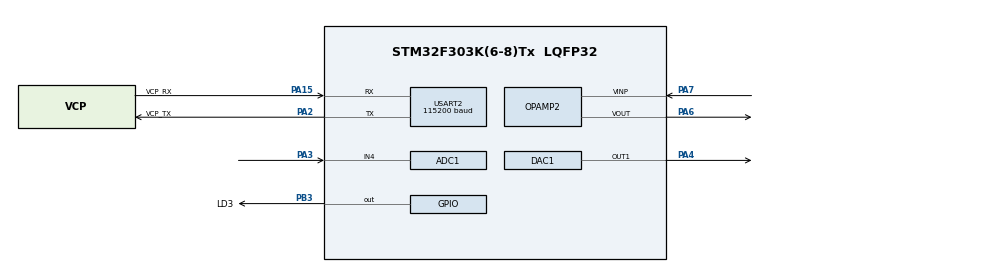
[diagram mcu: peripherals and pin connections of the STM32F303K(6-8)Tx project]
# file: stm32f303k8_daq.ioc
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ADC1.Channel-0\#ChannelRegularConversion=ADC_CHANNEL_4
ADC1.ContinuousConvMode=ENABLE
ADC1.NbrOfConversionFlag=1
ADC1.Offset-0\#ChannelRegularConversion=0
ADC1.OffsetNumber-0\#ChannelRegularConversion=ADC_OFFSET_NONE
ADC1.Rank-0\#ChannelRegularConversion=1
ADC1.SamplingTime-0\#ChannelRegularConversion=ADC_SAMPLETIME_19CYCLES_5
ADC1.SubFamily=STM32F303x8
ADC1.master=1
DAC1.DAC_Trigger=DAC_TRIGGER_T6_TRGO
Dma.ADC1.1.Direction=DMA_PERIPH_TO_MEMORY
Dma.ADC1.1.Instance=DMA1_Channel1
Dma.ADC1.1.MemDataAlignment=DMA_MDATAALIGN_HALFWORD
Dma.ADC1.1.MemInc=DMA_MINC_ENABLE
Dma.ADC1.1.Mode=DMA_NORMAL
Dma.ADC1.1.PeriphDataAlignment=DMA_PDATAALIGN_HALFWORD
Dma.ADC1.1.PeriphInc=DMA_PINC_DISABLE
Dma.ADC1.1.Priority=DMA_PRIORITY_HIGH
Dma.DAC1_CH1.0.Direction=DMA_MEMORY_TO_PERIPH
Dma.DAC1_CH1.0.Instance=DMA1_Channel3
Dma.DAC1_CH1.0.MemDataAlignment=DMA_MDATAALIGN_HALFWORD
Dma.DAC1_CH1.0.MemInc=DMA_MINC_ENABLE
Dma.DAC1_CH1.0.Mode=DMA_CIRCULAR
Dma.DAC1_CH1.0.PeriphDataAlignment=DMA_PDATAALIGN_HALFWORD
Dma.DAC1_CH1.0.PeriphInc=DMA_PINC_DISABLE
Dma.DAC1_CH1.0.Priority=DMA_PRIORITY_LOW
Dma.Request0=DAC1_CH1
Dma.Request1=ADC1
Mcu.Family=STM32F3
Mcu.Name=STM32F303K(6-8)Tx
Mcu.Package=LQFP32
NVIC.DMA1_Channel1_IRQn=true\:0\:0\:false\:false\:true\:false\:true
NVIC.DMA1_Channel3_IRQn=true\:0\:0\:false\:false\:true\:false\:true
NVIC.PriorityGroup=NVIC_PRIORITYGROUP_4
NVIC.USART2_IRQn=true\:0\:0\:false\:false\:true\:true\:true
PA13.GPIO_Label=SWDIO
PA13.Mode=Serial_Wire
PA13.Signal=SYS_JTMS-SWDIO
PA14.GPIO_Label=SWCLK
PA14.Mode=Serial_Wire
PA14.Signal=SYS_JTCK-SWCLK
PA15.GPIO_Label=VCP_RX
PA15.Mode=Asynchronous
PA15.Signal=USART2_RX
PA2.GPIO_Label=VCP_TX
PA2.Mode=Asynchronous
PA2.Signal=USART2_TX
PA3.Mode=IN4-Single-Ended
PA3.Signal=ADC1_IN4
PA4.Signal=COMP_DAC11_group
PA6.Mode=Follower
PA6.Signal=OPAMP2_VOUT
PA7.Mode=Follower
PA7.Signal=OPAMP2_VINP
PB3.GPIO_Label=LD3
PB3.Signal=GPIO_Output
PF0\ /\ OSC_IN.GPIO_Label=MCO
PF0\ /\ OSC_IN.Mode=HSE-External-Clock-Source
PF0\ /\ OSC_IN.Signal=RCC_OSC_IN
ProjectManager.HeapSize=0x200
ProjectManager.StackSize=0x400
ProjectManager.TargetToolchain=STM32CubeIDE
RCC.ADC12PRES=RCC_ADC12PLLCLK_DIV16
RCC.AHBFreq_Value=64000000
RCC.APB1CLKDivider=RCC_HCLK_DIV2
RCC.APB1Freq_Value=32000000
RCC.APB1TimFreq_Value=64000000
RCC.APB2Freq_Value=64000000
RCC.APB2TimFreq_Value=64000000
RCC.CortexFreq_Value=64000000
RCC.HCLKFreq_Value=64000000
RCC.HSE_VALUE=8000000
RCC.HSI_VALUE=8000000
RCC.PLLMUL=RCC_PLL_MUL16
RCC.SYSCLKFreq_VALUE=64000000
RCC.SYSCLKSourceVirtual=RCC_SYSCLKSOURCE_PLLCLK
SH.COMP_DAC11_group.0=DAC1_OUT1,DAC_OUT1
TIM2.Period=0xFFFFFFFF
TIM6.AutoReloadPreload=TIM_AUTORELOAD_PRELOAD_ENABLE
TIM6.Period=49
TIM6.Prescaler=7
TIM6.TIM_MasterOutputTrigger=TIM_TRGO_UPDATE
USART2.BaudRate=115200
USART2.VirtualMode-Asynchronous=VM_ASYNC
VP_TIM2_VS_ClockSourceINT.Mode=Internal
VP_TIM6_VS_ClockSourceINT.Mode=Enable_Timer
board=NUCLEO-F303K8

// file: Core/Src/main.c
/* USER CODE BEGIN Header */
/**
 ******************************************************************************
 * @file           : main.c
 * @brief          : Main program body
 ******************************************************************************
 * @attention
 *
 * <h2><center>&copy; Copyright (c) 2020 STMicroelectronics.
 * All rights reserved.</center></h2>
 *
 * This software component is licensed by ST under BSD 3-Clause license,
 * the "License"; You may not use this file except in compliance with the
 * License. You may obtain a copy of the License at:
 *                        opensource.org/licenses/BSD-3-Clause
 *
 ******************************************************************************
 */
/* USER CODE END Header */

#include "main.h"

/* USER CODE BEGIN Includes */
#include "arm_math.h"
/* USER CODE END Includes */

/* USER CODE BEGIN PV */
__attribute__((aligned (16))) uint16_t dac_buf0 [DAC_BUF_LEN] = {0};
__attribute__((aligned (16))) uint16_t dac_buf1 [DAC_BUF_LEN] = {0};

uint32_t samplerate; // from the DAC

__attribute__((aligned (16))) uint16_t adc_buf [ADC_BUF_LEN] = {0};
uint32_t convdone = 0;
static const unsigned char base64_table[65] =
		"ABCDEFGHIJKLMNOPQRSTUVWXYZabcdefghijklmnopqrstuvwxyz0123456789+/";

uint32_t adc_enabled = 0;
uint32_t dac_enabled = 0;
uint32_t adc_enable_req = 0;
uint32_t dac_enable_req = 0;
uint32_t adc_disable_req = 0;
uint32_t dac_disable_req = 0;

/* USER CODE END PV */

void SystemClock_Config(void);
static void MX_GPIO_Init(void);
static void MX_DMA_Init(void);
static void MX_DAC1_Init(void);
static void MX_TIM6_Init(void);
static void MX_USART2_UART_Init(void);
static void MX_TIM2_Init(void);
static void MX_ADC1_Init(void);
static void MX_OPAMP2_Init(void);
/* USER CODE BEGIN PFP */
static char base64enc(uint8_t n);
/* USER CODE END PFP */

/* USER CODE BEGIN 0 */
static char base64enc(uint8_t n)
{
	return base64_table[n];
}

static void uart_tx(char c)
{
	while (!LL_USART_IsActiveFlag_TXE(USART2)) {};
	LL_USART_TransmitData8( USART2, c );
}

// Transmit ADC captured data encoded in base64 through the UART
static void tx_adc_buffer()
{
	char c;

	for (uint32_t i=0; i<ADC_BUF_LEN; i++) {

		c = base64enc((adc_buf[i] >> 6) & 0x3F);
		uart_tx(c);

		c = base64enc(adc_buf[i] & 0x3F);
		uart_tx(c);

		if (i % 32 == 31) {
			uart_tx('\n');
		}
	}

	uart_tx('\n');
}

static void adc_start()
{
	LL_DMA_SetDataLength(DMA1, LL_DMA_CHANNEL_1, ADC_BUF_LEN);

	LL_DMA_EnableChannel(DMA1, LL_DMA_CHANNEL_1);

	LL_GPIO_SetOutputPin(LD3_GPIO_Port, LD3_Pin);
	LL_ADC_REG_StartConversion(ADC1);
}
/* USER CODE END 0 */

int main(void)
{

  /* MCU Configuration--------------------------------------------------------*/

  /* Reset of all peripherals, Initializes the Flash interface and the Systick. */

  LL_APB2_GRP1_EnableClock(LL_APB2_GRP1_PERIPH_SYSCFG);
  LL_APB1_GRP1_EnableClock(LL_APB1_GRP1_PERIPH_PWR);

  NVIC_SetPriorityGrouping(NVIC_PRIORITYGROUP_4);

  /* System interrupt init*/

  /* Configure the system clock */
  SystemClock_Config();

  /* Initialize all configured peripherals */
  MX_GPIO_Init();
  MX_DMA_Init();
  MX_DAC1_Init();
  MX_TIM6_Init();
  MX_USART2_UART_Init();
  MX_TIM2_Init();
  MX_ADC1_Init();
  MX_OPAMP2_Init();
  /* USER CODE BEGIN 2 */

	/* Condition for glitch-free:
	 * tim_cnt/64 < DAC_BUF_LEN*1000000/samplerate
	 */

	samplerate = LL_RCC_GetTIMClockFreq( LL_RCC_GetTIMClockSource(TIM6) ) /
			(LL_TIM_GetAutoReload(TIM6) + 1) / (LL_TIM_GetPrescaler(TIM6) + 1);

  /* USER CODE END 2 */

  /* Infinite loop */
  /* USER CODE BEGIN WHILE */

	while (1)
	{
		if (adc_enabled) {
			if (convdone) {
				convdone = 0;
				LL_DMA_DisableChannel(DMA1, LL_DMA_CHANNEL_1);

				tx_adc_buffer();

				if (adc_disable_req) {
					adc_disable_req = 0;
					adc_enabled = 0;
				} else {
					adc_start();
				}
			}
		} else {
			if (adc_enable_req) {
				adc_enable_req = 0;
				adc_enabled = 1;

				adc_start();
			}
		}

		if (dac_enabled) {
			if (dac_disable_req) {
				dac_enabled = 0;
				dac_disable_req = 0;

				LL_DMA_DisableChannel(DMA1, LL_DMA_CHANNEL_3);
				LL_DAC_Disable(DAC1, LL_DAC_CHANNEL_1);
			}
		} else {

			if (dac_enable_req) {
				dac_enabled = 1;
				dac_enable_req = 0;
				LL_DMA_EnableChannel(DMA1, LL_DMA_CHANNEL_3);
				LL_DAC_Enable(DAC1, LL_DAC_CHANNEL_1);
			}
		}
    /* USER CODE END WHILE */

	}
}

void SystemClock_Config(void)
{
  LL_FLASH_SetLatency(LL_FLASH_LATENCY_2);

   if(LL_FLASH_GetLatency() != LL_FLASH_LATENCY_2)
  {
  Error_Handler();
  }
  LL_RCC_HSI_Enable();

   /* Wait till HSI is ready */
  while(LL_RCC_HSI_IsReady() != 1)
  {

  }
  LL_RCC_HSI_SetCalibTrimming(16);
  LL_RCC_PLL_ConfigDomain_SYS(LL_RCC_PLLSOURCE_HSI_DIV_2, LL_RCC_PLL_MUL_16);
  LL_RCC_PLL_Enable();

   /* Wait till PLL is ready */
  while(LL_RCC_PLL_IsReady() != 1)
  {

  }
  LL_RCC_SetAHBPrescaler(LL_RCC_SYSCLK_DIV_1);
  LL_RCC_SetAPB1Prescaler(LL_RCC_APB1_DIV_2);
  LL_RCC_SetAPB2Prescaler(LL_RCC_APB1_DIV_1);
  LL_RCC_SetSysClkSource(LL_RCC_SYS_CLKSOURCE_PLL);

   /* Wait till System clock is ready */
  while(LL_RCC_GetSysClkSource() != LL_RCC_SYS_CLKSOURCE_STATUS_PLL)
  {

  }
  LL_Init1msTick(64000000);
  LL_SYSTICK_SetClkSource(LL_SYSTICK_CLKSOURCE_HCLK);
  LL_SetSystemCoreClock(64000000);
  LL_RCC_SetADCClockSource(LL_RCC_ADC12_CLKSRC_PLL_DIV_16);
}

static void MX_ADC1_Init(void)
{

  LL_ADC_InitTypeDef ADC_InitStruct = {0};
  LL_ADC_REG_InitTypeDef ADC_REG_InitStruct = {0};
  LL_ADC_CommonInitTypeDef ADC_CommonInitStruct = {0};

  LL_GPIO_InitTypeDef GPIO_InitStruct = {0};

  /* Peripheral clock enable */
  LL_AHB1_GRP1_EnableClock(LL_AHB1_GRP1_PERIPH_ADC12);

  LL_AHB1_GRP1_EnableClock(LL_AHB1_GRP1_PERIPH_GPIOA);
  /**ADC1 GPIO Configuration
  PA3   ------> ADC1_IN4
  */
  GPIO_InitStruct.Pin = LL_GPIO_PIN_3;
  GPIO_InitStruct.Mode = LL_GPIO_MODE_ANALOG;
  GPIO_InitStruct.Pull = LL_GPIO_PULL_NO;
  LL_GPIO_Init(GPIOA, &GPIO_InitStruct);

  /* ADC1 DMA Init */

  /* ADC1 Init */
  LL_DMA_SetDataTransferDirection(DMA1, LL_DMA_CHANNEL_1, LL_DMA_DIRECTION_PERIPH_TO_MEMORY);

  LL_DMA_SetChannelPriorityLevel(DMA1, LL_DMA_CHANNEL_1, LL_DMA_PRIORITY_HIGH);

  LL_DMA_SetMode(DMA1, LL_DMA_CHANNEL_1, LL_DMA_MODE_NORMAL);

  LL_DMA_SetPeriphIncMode(DMA1, LL_DMA_CHANNEL_1, LL_DMA_PERIPH_NOINCREMENT);

  LL_DMA_SetMemoryIncMode(DMA1, LL_DMA_CHANNEL_1, LL_DMA_MEMORY_INCREMENT);

  LL_DMA_SetPeriphSize(DMA1, LL_DMA_CHANNEL_1, LL_DMA_PDATAALIGN_HALFWORD);

  LL_DMA_SetMemorySize(DMA1, LL_DMA_CHANNEL_1, LL_DMA_MDATAALIGN_HALFWORD);

  /* USER CODE BEGIN ADC1_Init 1 */

	LL_DMA_ConfigAddresses(DMA1, LL_DMA_CHANNEL_1,
			LL_ADC_DMA_GetRegAddr(ADC1, LL_ADC_DMA_REG_REGULAR_DATA),
			(uint32_t)adc_buf,
			LL_DMA_DIRECTION_PERIPH_TO_MEMORY);

	LL_DMA_SetDataLength(DMA1, LL_DMA_CHANNEL_1, ADC_BUF_LEN);

	//LL_DMA_EnableChannel(DMA1, LL_DMA_CHANNEL_1);

	LL_DMA_EnableIT_TC(DMA1, LL_DMA_CHANNEL_1);

  /* USER CODE END ADC1_Init 1 */
  /** Common config
  */
  ADC_InitStruct.Resolution = LL_ADC_RESOLUTION_12B;
  ADC_InitStruct.DataAlignment = LL_ADC_DATA_ALIGN_RIGHT;
  ADC_InitStruct.LowPowerMode = LL_ADC_LP_MODE_NONE;
  LL_ADC_Init(ADC1, &ADC_InitStruct);
  ADC_REG_InitStruct.TriggerSource = LL_ADC_REG_TRIG_SOFTWARE;
  ADC_REG_InitStruct.SequencerLength = LL_ADC_REG_SEQ_SCAN_DISABLE;
  ADC_REG_InitStruct.SequencerDiscont = LL_ADC_REG_SEQ_DISCONT_DISABLE;
  ADC_REG_InitStruct.ContinuousMode = LL_ADC_REG_CONV_CONTINUOUS;
  ADC_REG_InitStruct.DMATransfer = LL_ADC_REG_DMA_TRANSFER_LIMITED;
  ADC_REG_InitStruct.Overrun = LL_ADC_REG_OVR_DATA_OVERWRITTEN;
  LL_ADC_REG_Init(ADC1, &ADC_REG_InitStruct);
  LL_ADC_DisableIT_EOC(ADC1);
  LL_ADC_DisableIT_EOS(ADC1);
  ADC_CommonInitStruct.CommonClock = LL_ADC_CLOCK_ASYNC_DIV1;
  ADC_CommonInitStruct.Multimode = LL_ADC_MULTI_INDEPENDENT;
  LL_ADC_CommonInit(__LL_ADC_COMMON_INSTANCE(ADC1), &ADC_CommonInitStruct);
  /** Configure Regular Channel
  */
  LL_ADC_REG_SetSequencerRanks(ADC1, LL_ADC_REG_RANK_1, LL_ADC_CHANNEL_4);
  LL_ADC_SetChannelSamplingTime(ADC1, LL_ADC_CHANNEL_4, LL_ADC_SAMPLINGTIME_19CYCLES_5);
  LL_ADC_SetChannelSingleDiff(ADC1, LL_ADC_CHANNEL_4, LL_ADC_SINGLE_ENDED);
  /* USER CODE BEGIN ADC1_Init 2 */
	LL_ADC_EnableInternalRegulator(ADC1);

	uint32_t n=0;
	n=1000000;
	while (n--);

	LL_ADC_StartCalibration(ADC1, LL_ADC_SINGLE_ENDED);

	n=1000000;
	while (n--);

	while (LL_ADC_IsCalibrationOnGoing(ADC1)) {

	};

	n=2000000;
	while (n--);

	LL_ADC_Enable(ADC1);

	while (LL_ADC_IsActiveFlag_ADRDY(ADC1) == 0)
	{
		n=200;
		while (n--);
	};

	//LL_ADC_REG_StartConversion(ADC1);
  /* USER CODE END ADC1_Init 2 */

}

static void MX_DAC1_Init(void)
{

  LL_DAC_InitTypeDef DAC_InitStruct = {0};

  LL_GPIO_InitTypeDef GPIO_InitStruct = {0};

  /* Peripheral clock enable */
  LL_APB1_GRP1_EnableClock(LL_APB1_GRP1_PERIPH_DAC1);

  LL_AHB1_GRP1_EnableClock(LL_AHB1_GRP1_PERIPH_GPIOA);
  /**DAC1 GPIO Configuration
  PA4   ------> DAC1_OUT1
  */
  GPIO_InitStruct.Pin = LL_GPIO_PIN_4;
  GPIO_InitStruct.Mode = LL_GPIO_MODE_ANALOG;
  GPIO_InitStruct.Pull = LL_GPIO_PULL_NO;
  LL_GPIO_Init(GPIOA, &GPIO_InitStruct);

  /* DAC1 DMA Init */

  /* DAC1_CH1 Init */
  LL_DMA_SetDataTransferDirection(DMA1, LL_DMA_CHANNEL_3, LL_DMA_DIRECTION_MEMORY_TO_PERIPH);

  LL_DMA_SetChannelPriorityLevel(DMA1, LL_DMA_CHANNEL_3, LL_DMA_PRIORITY_LOW);

  LL_DMA_SetMode(DMA1, LL_DMA_CHANNEL_3, LL_DMA_MODE_CIRCULAR);

  LL_DMA_SetPeriphIncMode(DMA1, LL_DMA_CHANNEL_3, LL_DMA_PERIPH_NOINCREMENT);

  LL_DMA_SetMemoryIncMode(DMA1, LL_DMA_CHANNEL_3, LL_DMA_MEMORY_INCREMENT);

  LL_DMA_SetPeriphSize(DMA1, LL_DMA_CHANNEL_3, LL_DMA_PDATAALIGN_HALFWORD);

  LL_DMA_SetMemorySize(DMA1, LL_DMA_CHANNEL_3, LL_DMA_MDATAALIGN_HALFWORD);

  LL_SYSCFG_SetRemapDMA_DAC(LL_SYSCFG_DAC1_CH1_RMP_DMA1_CH3);

  /* USER CODE BEGIN DAC1_Init 1 */
	LL_DMA_ConfigAddresses(DMA1, LL_DMA_CHANNEL_3,
			(uint32_t)dac_buf0,
			LL_DAC_DMA_GetRegAddr(DAC1,LL_DAC_CHANNEL_1, LL_DAC_DMA_REG_DATA_12BITS_RIGHT_ALIGNED),
			LL_DMA_DIRECTION_MEMORY_TO_PERIPH);

	LL_DMA_SetDataLength(DMA1, LL_DMA_CHANNEL_3, DAC_BUF_LEN);

	//LL_DMA_EnableChannel(DMA1, LL_DMA_CHANNEL_3);

	LL_DMA_EnableIT_TC(DMA1, LL_DMA_CHANNEL_3);

  /* USER CODE END DAC1_Init 1 */
  /** DAC channel OUT1 config
  */
  DAC_InitStruct.TriggerSource = LL_DAC_TRIG_EXT_TIM6_TRGO;
  DAC_InitStruct.WaveAutoGeneration = LL_DAC_WAVE_AUTO_GENERATION_NONE;
  DAC_InitStruct.OutputBuffer = LL_DAC_OUTPUT_BUFFER_ENABLE;
  LL_DAC_Init(DAC1, LL_DAC_CHANNEL_1, &DAC_InitStruct);
  LL_DAC_EnableTrigger(DAC1, LL_DAC_CHANNEL_1);
  /* USER CODE BEGIN DAC1_Init 2 */
	//LL_DAC_Enable(DAC1, LL_DAC_CHANNEL_1);
	LL_DAC_EnableDMAReq(DAC1, LL_DAC_CHANNEL_1);
  /* USER CODE END DAC1_Init 2 */

}

static void MX_OPAMP2_Init(void)
{

  LL_OPAMP_InitTypeDef OPAMP_InitStruct = {0};

  LL_GPIO_InitTypeDef GPIO_InitStruct = {0};

  LL_AHB1_GRP1_EnableClock(LL_AHB1_GRP1_PERIPH_GPIOA);
  /**OPAMP2 GPIO Configuration
  PA6   ------> OPAMP2_VOUT
  PA7   ------> OPAMP2_VINP
  */
  GPIO_InitStruct.Pin = LL_GPIO_PIN_6|LL_GPIO_PIN_7;
  GPIO_InitStruct.Mode = LL_GPIO_MODE_ANALOG;
  GPIO_InitStruct.Pull = LL_GPIO_PULL_NO;
  LL_GPIO_Init(GPIOA, &GPIO_InitStruct);

  OPAMP_InitStruct.FunctionalMode = LL_OPAMP_MODE_FOLLOWER;
  OPAMP_InitStruct.InputNonInverting = LL_OPAMP_INPUT_NONINVERT_IO0;
  LL_OPAMP_Init(OPAMP2, &OPAMP_InitStruct);
  LL_OPAMP_SetInputsMuxMode(OPAMP2, LL_OPAMP_INPUT_MUX_DISABLE);
  LL_OPAMP_SetTrimmingMode(OPAMP2, LL_OPAMP_TRIMMING_FACTORY);
  /* USER CODE BEGIN OPAMP2_Init 2 */
	LL_OPAMP_Enable(OPAMP2);
  /* USER CODE END OPAMP2_Init 2 */

}

static void MX_TIM2_Init(void)
{

  LL_TIM_InitTypeDef TIM_InitStruct = {0};

  /* Peripheral clock enable */
  LL_APB1_GRP1_EnableClock(LL_APB1_GRP1_PERIPH_TIM2);

  TIM_InitStruct.Prescaler = 0;
  TIM_InitStruct.CounterMode = LL_TIM_COUNTERMODE_UP;
  TIM_InitStruct.Autoreload = 0xFFFFFFFF;
  TIM_InitStruct.ClockDivision = LL_TIM_CLOCKDIVISION_DIV1;
  LL_TIM_Init(TIM2, &TIM_InitStruct);
  LL_TIM_DisableARRPreload(TIM2);
  LL_TIM_SetClockSource(TIM2, LL_TIM_CLOCKSOURCE_INTERNAL);
  LL_TIM_SetTriggerOutput(TIM2, LL_TIM_TRGO_RESET);
  LL_TIM_DisableMasterSlaveMode(TIM2);
  /* USER CODE BEGIN TIM2_Init 2 */
	LL_TIM_EnableCounter(TIM2);
  /* USER CODE END TIM2_Init 2 */

}

static void MX_TIM6_Init(void)
{

  LL_TIM_InitTypeDef TIM_InitStruct = {0};

  /* Peripheral clock enable */
  LL_APB1_GRP1_EnableClock(LL_APB1_GRP1_PERIPH_TIM6);

  TIM_InitStruct.Prescaler = 7;
  TIM_InitStruct.CounterMode = LL_TIM_COUNTERMODE_UP;
  TIM_InitStruct.Autoreload = 49;
  LL_TIM_Init(TIM6, &TIM_InitStruct);
  LL_TIM_EnableARRPreload(TIM6);
  LL_TIM_SetTriggerOutput(TIM6, LL_TIM_TRGO_UPDATE);
  LL_TIM_DisableMasterSlaveMode(TIM6);
  /* USER CODE BEGIN TIM6_Init 2 */
	LL_TIM_EnableCounter(TIM6);
  /* USER CODE END TIM6_Init 2 */

}

static void MX_USART2_UART_Init(void)
{

  LL_USART_InitTypeDef USART_InitStruct = {0};

  LL_GPIO_InitTypeDef GPIO_InitStruct = {0};

  /* Peripheral clock enable */
  LL_APB1_GRP1_EnableClock(LL_APB1_GRP1_PERIPH_USART2);

  LL_AHB1_GRP1_EnableClock(LL_AHB1_GRP1_PERIPH_GPIOA);
  /**USART2 GPIO Configuration
  PA2   ------> USART2_TX
  PA15   ------> USART2_RX
  */
  GPIO_InitStruct.Pin = VCP_TX_Pin|VCP_RX_Pin;
  GPIO_InitStruct.Mode = LL_GPIO_MODE_ALTERNATE;
  GPIO_InitStruct.Speed = LL_GPIO_SPEED_FREQ_HIGH;
  GPIO_InitStruct.OutputType = LL_GPIO_OUTPUT_PUSHPULL;
  GPIO_InitStruct.Pull = LL_GPIO_PULL_NO;
  GPIO_InitStruct.Alternate = LL_GPIO_AF_7;
  LL_GPIO_Init(GPIOA, &GPIO_InitStruct);

  /* USART2 interrupt Init */
  NVIC_SetPriority(USART2_IRQn, NVIC_EncodePriority(NVIC_GetPriorityGrouping(),0, 0));
  NVIC_EnableIRQ(USART2_IRQn);

  USART_InitStruct.BaudRate = 115200;
  USART_InitStruct.DataWidth = LL_USART_DATAWIDTH_8B;
  USART_InitStruct.StopBits = LL_USART_STOPBITS_1;
  USART_InitStruct.Parity = LL_USART_PARITY_NONE;
  USART_InitStruct.TransferDirection = LL_USART_DIRECTION_TX_RX;
  USART_InitStruct.HardwareFlowControl = LL_USART_HWCONTROL_NONE;
  USART_InitStruct.OverSampling = LL_USART_OVERSAMPLING_16;
  LL_USART_Init(USART2, &USART_InitStruct);
  LL_USART_DisableIT_CTS(USART2);
  LL_USART_ConfigAsyncMode(USART2);
  LL_USART_Enable(USART2);
  /* USER CODE BEGIN USART2_Init 2 */

	LL_USART_EnableIT_RXNE(USART2);

  /* USER CODE END USART2_Init 2 */

}

static void MX_DMA_Init(void)
{

  /* Init with LL driver */
  /* DMA controller clock enable */
  LL_AHB1_GRP1_EnableClock(LL_AHB1_GRP1_PERIPH_DMA1);

  /* DMA interrupt init */
  /* DMA1_Channel1_IRQn interrupt configuration */
  NVIC_SetPriority(DMA1_Channel1_IRQn, NVIC_EncodePriority(NVIC_GetPriorityGrouping(),0, 0));
  NVIC_EnableIRQ(DMA1_Channel1_IRQn);
  /* DMA1_Channel3_IRQn interrupt configuration */
  NVIC_SetPriority(DMA1_Channel3_IRQn, NVIC_EncodePriority(NVIC_GetPriorityGrouping(),0, 0));
  NVIC_EnableIRQ(DMA1_Channel3_IRQn);

}

static void MX_GPIO_Init(void)
{
  LL_GPIO_InitTypeDef GPIO_InitStruct = {0};

  /* GPIO Ports Clock Enable */
  LL_AHB1_GRP1_EnableClock(LL_AHB1_GRP1_PERIPH_GPIOF);
  LL_AHB1_GRP1_EnableClock(LL_AHB1_GRP1_PERIPH_GPIOA);
  LL_AHB1_GRP1_EnableClock(LL_AHB1_GRP1_PERIPH_GPIOB);

  /**/
  LL_GPIO_ResetOutputPin(LD3_GPIO_Port, LD3_Pin);

  /**/
  GPIO_InitStruct.Pin = LD3_Pin;
  GPIO_InitStruct.Mode = LL_GPIO_MODE_OUTPUT;
  GPIO_InitStruct.Speed = LL_GPIO_SPEED_FREQ_LOW;
  GPIO_InitStruct.OutputType = LL_GPIO_OUTPUT_PUSHPULL;
  GPIO_InitStruct.Pull = LL_GPIO_PULL_NO;
  LL_GPIO_Init(LD3_GPIO_Port, &GPIO_InitStruct);

}

void Error_Handler(void)
{
}

/************************ (C) COPYRIGHT STMicroelectronics *****END OF FILE****/
